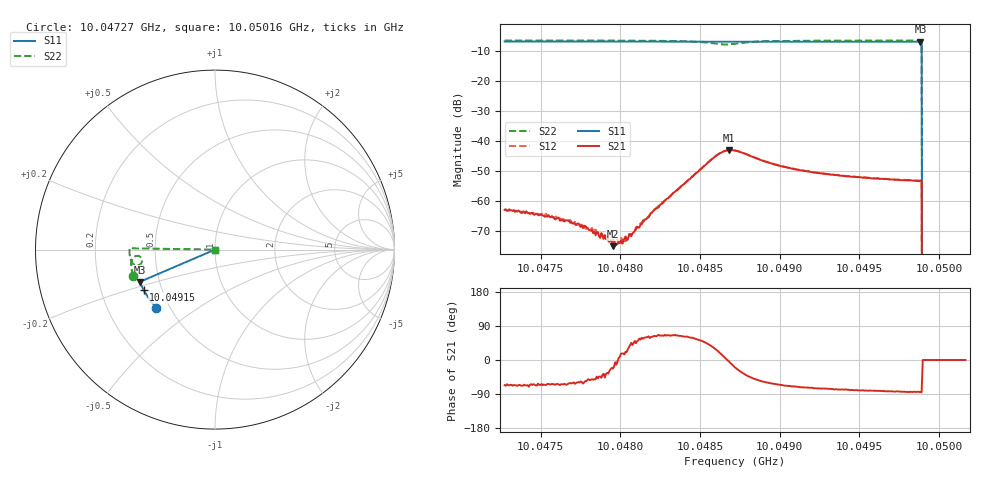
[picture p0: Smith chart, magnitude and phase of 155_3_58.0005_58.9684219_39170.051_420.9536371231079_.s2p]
#  HZ  S  RI  R  50.00
! Rohde & Schwarz Vector Network Analyzer
! Rohde-Schwarz,ZNB20-2Port,1311601062101988,3.16
! Created: UTC 3/21/2024, 12:57:12 AM
! freq[Hz]  re:S11  im:S11  re:S21  im:S21  re:S12  im:S12  re:S22  im:S22
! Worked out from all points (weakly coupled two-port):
!   401 points, 10.04727 GHz to 10.05016 GHz, reference 50 ohm
!   highest |S21| = -43.00 dB at 10.04868 GHz (marker M1); lowest = -75.1 dB at 10.04795 GHz (marker M2)
!   lowest |S11| = -6.8 dB at 10.04988 GHz (marker M3), VSWR 2.67, Z = 19.4 - j8.8 ohm
!   |S11| at or under -10 dB: 10.04989 GHz to end of sweep
!   |S22| runs from - to -6.4 dB; largest |S21 - S12| = 0.00048
!   S11 on the Smith chart (normalised r, x): 10.04727 GHz: 0.42, -0.35; 10.04915 GHz: 0.39, -0.22; 10.05016 GHz: 1.00, +0.00
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1.0047273e10  -0.3264 -0.3245  0.000284 -0.000652  0.000335 -0.000638  -0.4556 -0.1473
1.0047605e10  -0.3412 -0.3078  0.000235 -0.00046  0.000265 -0.000455  -0.4615 -0.1245
1.0047699e10  -0.3452 -0.3031  0.000207 -0.000365  0.000251 -0.000402  -0.463 -0.1177
1.0047757e10  -0.3476 -0.3002  0.000207 -0.000333  0.000237 -0.000328  -0.4637 -0.1135
1.0047829e10  -0.3507 -0.2964  0.000177 -0.000227  0.000184 -0.000227  -0.4648 -0.108
1.004788e10  -0.3527 -0.2938  0.000199 -0.000213  0.00021 -0.000174  -0.4652 -0.104
1.0047952e10  -0.3556 -0.29  0.000162 -6.8e-05  0.000221 -5.7e-05  -0.466 -0.0982
1.0047967e10  -0.3564 -0.2892  0.000192 -2.02e-05  0.000199 -4.87e-05  -0.4662 -0.0972
1.0048032e10  -0.3587 -0.2857  0.000238 9.5e-05  0.000188 9.64e-05  -0.4665 -0.0917
1.0048242e10  -0.3671 -0.2744  0.000324 0.000726  0.000307 0.000782  -0.4664 -0.072
1.0048589e10  -0.3794 -0.2551  0.0046 0.00279  0.00444 0.00307  -0.4251 -0.036
1.0048639e10  -0.3808 -0.2524  0.00641 0.00148  0.00634 0.00184  -0.4097 -0.0484
1.0048683e10  -0.3823 -0.2502  0.00705 -0.000657  0.00711 -0.000228  -0.407 -0.0668
1.0048719e10  -0.3837 -0.2483  0.00656 -0.00233  0.00673 -0.00191  -0.4142 -0.08
1.0048972e10  -0.3924 -0.2342  0.00179 -0.00362  0.00203 -0.00357  -0.4637 -0.0693
1.0049153e10  -0.3983 -0.2236  0.000975 -0.00302  0.00117 -0.003  -0.4714 -0.0506
1.0049203e10  -0.4 -0.2207  0.000864 -0.00291  0.000999 -0.00288  -0.4726 -0.0458
1.0049688e10  -0.4136 -0.1919  0.000283 -0.00227  0.000431 -0.00226  -0.4766 -0.00726
1.0049876e10  -0.4184 -0.1804  0.000209 -0.00214  0.000311 -0.00215  -0.4766 0.0064
1.0049883e10  -0.4185 -0.1798  0.000199 -0.00218  0.000297 -0.00217  -0.4768 0.00692
1.0049912e10  0 0  0 0  0 0  0 0
1.0050165e10  0 0  0 0  0 0  0 0
